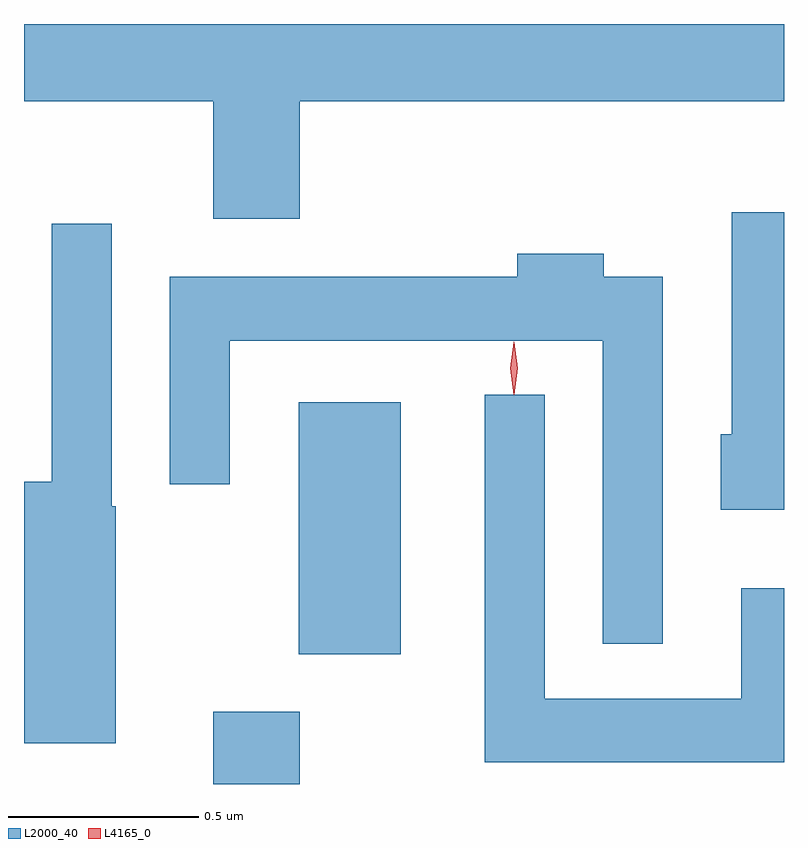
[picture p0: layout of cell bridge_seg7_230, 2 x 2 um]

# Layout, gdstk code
import gdstk
lib = gdstk.Library(unit=1e-6, precision=1e-09)
def R(c, l, rs):  # rectangles x0, y0, x1, y1
    for r in rs: c.add(gdstk.rectangle(r[:2], r[2:], *l))
def P(c, l, *ps):  # polygons
    for p in ps: c.add(gdstk.Polygon(p, *l))
L2000_40 = (2000, 40)
L4165_0 = (4165, 0)

bridge_seg7_230 = lib.new_cell('bridge_seg7_230')
R(bridge_seg7_230, L2000_40, [(1490.801,1701.419,1491.029,1701.609), (1491.026,1701.761,1491.294,1702.424)])
P(bridge_seg7_230, L2000_40, [(1491.029,1703.216),(1492.303,1703.216),(1492.303,1703.419),(1490.303,1703.419),(1490.303,1703.216),(1490.801,1703.216),(1490.801,1702.906),(1491.029,1702.906)],
  [(1492.303,1702.924),(1492.166,1702.924),(1492.166,1702.339),(1492.136,1702.339),(1492.136,1702.141),(1492.303,1702.141)],
  [(1490.544,1702.15),(1490.534,1702.15),(1490.534,1702.893),(1490.376,1702.893),(1490.376,1702.214),(1490.303,1702.214),(1490.303,1701.526),(1490.544,1701.526)],
  [(1491.984,1702.754),(1491.829,1702.754),(1491.829,1702.814),(1491.601,1702.814),(1491.601,1702.754),(1490.686,1702.754),(1490.686,1702.208),(1490.844,1702.208),(1490.844,1702.586),(1491.826,1702.586),(1491.826,1701.788),(1491.984,1701.788)],
  [(1492.303,1701.934),(1492.191,1701.934),(1492.191,1701.644),(1491.674,1701.644),(1491.674,1702.443),(1491.516,1702.443),(1491.516,1701.476),(1492.303,1701.476)])
P(bridge_seg7_230, L4165_0, [(1491.592,1702.444),(1491.592,1702.444),(1491.582,1702.513),(1491.592,1702.582),(1491.592,1702.583),(1491.593,1702.582),(1491.602,1702.513),(1491.593,1702.444)])

lib.write_gds('bridge_seg7_230.gds')
